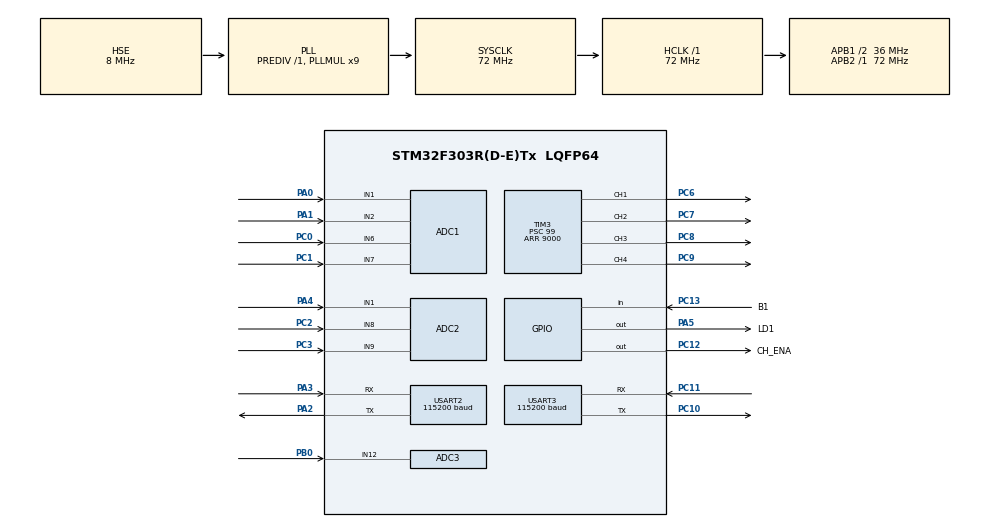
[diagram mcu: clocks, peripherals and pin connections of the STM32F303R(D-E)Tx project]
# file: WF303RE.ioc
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ADC1.Channel-0\#ChannelRegularConversion=ADC_CHANNEL_1
ADC1.Channel-1\#ChannelRegularConversion=ADC_CHANNEL_2
ADC1.Channel-2\#ChannelRegularConversion=ADC_CHANNEL_6
ADC1.Channel-3\#ChannelRegularConversion=ADC_CHANNEL_7
ADC1.ContinuousConvMode=DISABLE
ADC1.DMAContinuousRequests=ENABLE
ADC1.EOCSelection=ADC_EOC_SEQ_CONV
ADC1.ExternalTrigConv=ADC_SOFTWARE_START
ADC1.Mode=ADC_DUALMODE_REGSIMULT
ADC1.NbrOfConversion=4
ADC1.NbrOfConversionFlag=1
ADC1.Offset-0\#ChannelRegularConversion=0
ADC1.Offset-1\#ChannelRegularConversion=0
ADC1.Offset-2\#ChannelRegularConversion=0
ADC1.Offset-3\#ChannelRegularConversion=0
ADC1.OffsetNumber-0\#ChannelRegularConversion=ADC_OFFSET_NONE
ADC1.OffsetNumber-1\#ChannelRegularConversion=ADC_OFFSET_NONE
ADC1.OffsetNumber-2\#ChannelRegularConversion=ADC_OFFSET_NONE
ADC1.OffsetNumber-3\#ChannelRegularConversion=ADC_OFFSET_NONE
ADC1.Rank-0\#ChannelRegularConversion=1
ADC1.Rank-1\#ChannelRegularConversion=2
ADC1.Rank-2\#ChannelRegularConversion=3
ADC1.Rank-3\#ChannelRegularConversion=4
ADC1.SamplingTime-0\#ChannelRegularConversion=ADC_SAMPLETIME_1CYCLE_5
ADC1.SamplingTime-1\#ChannelRegularConversion=ADC_SAMPLETIME_1CYCLE_5
ADC1.SamplingTime-2\#ChannelRegularConversion=ADC_SAMPLETIME_1CYCLE_5
ADC1.SamplingTime-3\#ChannelRegularConversion=ADC_SAMPLETIME_1CYCLE_5
ADC1.SamplingTimeOPAMP-2\#ChannelRegularConversion=ADC_SAMPLETIME_7CYCLES_5
ADC1.SamplingTimeOPAMP-3\#ChannelRegularConversion=ADC_SAMPLETIME_7CYCLES_5
ADC1.master=1
ADC2.Channel-0\#ChannelRegularConversion=ADC_CHANNEL_1
ADC2.Channel-1\#ChannelRegularConversion=ADC_CHANNEL_8
ADC2.Channel-2\#ChannelRegularConversion=ADC_CHANNEL_9
ADC2.Channel-3\#ChannelRegularConversion=ADC_CHANNEL_VREFINT
ADC2.DMAContinuousRequests=DISABLE
ADC2.EOCSelection=ADC_EOC_SEQ_CONV
ADC2.Mode=ADC_DUALMODE_REGSIMULT
ADC2.NbrOfConversion=4
ADC2.NbrOfConversionFlag=1
ADC2.Offset-0\#ChannelRegularConversion=0
ADC2.Offset-1\#ChannelRegularConversion=0
ADC2.Offset-2\#ChannelRegularConversion=0
ADC2.Offset-3\#ChannelRegularConversion=0
ADC2.OffsetNumber-0\#ChannelRegularConversion=ADC_OFFSET_NONE
ADC2.OffsetNumber-1\#ChannelRegularConversion=ADC_OFFSET_NONE
ADC2.OffsetNumber-2\#ChannelRegularConversion=ADC_OFFSET_NONE
ADC2.OffsetNumber-3\#ChannelRegularConversion=ADC_OFFSET_NONE
ADC2.Rank-0\#ChannelRegularConversion=1
ADC2.Rank-1\#ChannelRegularConversion=2
ADC2.Rank-2\#ChannelRegularConversion=3
ADC2.Rank-3\#ChannelRegularConversion=4
ADC2.SamplingTime-0\#ChannelRegularConversion=ADC_SAMPLETIME_1CYCLE_5
ADC2.SamplingTime-1\#ChannelRegularConversion=ADC_SAMPLETIME_1CYCLE_5
ADC2.SamplingTime-2\#ChannelRegularConversion=ADC_SAMPLETIME_1CYCLE_5
ADC2.SamplingTime-3\#ChannelRegularConversion=ADC_SAMPLETIME_1CYCLE_5
ADC3.Channel-0\#ChannelRegularConversion=ADC_CHANNEL_12
ADC3.ExternalTrigConv=ADC_SOFTWARE_START
ADC3.NbrOfConversionFlag=1
ADC3.Offset-0\#ChannelRegularConversion=0
ADC3.OffsetNumber-0\#ChannelRegularConversion=ADC_OFFSET_NONE
ADC3.Rank-0\#ChannelRegularConversion=1
ADC3.SamplingTime-0\#ChannelRegularConversion=ADC_SAMPLETIME_1CYCLE_5
ADC3.SamplingTimeOPAMP-0\#ChannelRegularConversion=ADC_SAMPLETIME_7CYCLES_5
ADC3.master=1
Dma.ADC1.0.Direction=DMA_PERIPH_TO_MEMORY
Dma.ADC1.0.Instance=DMA1_Channel1
Dma.ADC1.0.MemDataAlignment=DMA_MDATAALIGN_WORD
Dma.ADC1.0.MemInc=DMA_MINC_ENABLE
Dma.ADC1.0.Mode=DMA_NORMAL
Dma.ADC1.0.PeriphDataAlignment=DMA_PDATAALIGN_WORD
Dma.ADC1.0.PeriphInc=DMA_PINC_DISABLE
Dma.ADC1.0.Priority=DMA_PRIORITY_LOW
Dma.Request0=ADC1
Mcu.Family=STM32F3
Mcu.Name=STM32F303R(D-E)Tx
Mcu.Package=LQFP64
NVIC.ADC3_IRQn=true\:0\:0\:false\:false\:true\:true\:true\:true
NVIC.DMA1_Channel1_IRQn=true\:0\:0\:false\:false\:true\:false\:true\:true
NVIC.PriorityGroup=NVIC_PRIORITYGROUP_4
NVIC.TIM1_UP_TIM16_IRQn=true\:0\:0\:false\:false\:true\:true\:true\:true
NVIC.USART2_IRQn=true\:0\:0\:false\:false\:true\:true\:true\:true
NVIC.USART3_IRQn=true\:0\:0\:false\:false\:true\:true\:true\:true
PA0.Mode=IN1-Single-Ended
PA0.Signal=ADC1_IN1
PA1.Mode=IN2-Single-Ended
PA1.Signal=ADC1_IN2
PA13.Mode=Serial_Wire
PA13.Signal=SYS_JTMS-SWDIO
PA14.Mode=Serial_Wire
PA14.Signal=SYS_JTCK-SWCLK
PA2.Mode=Asynchronous
PA2.Signal=USART2_TX
PA3.Mode=Asynchronous
PA3.Signal=USART2_RX
PA4.Mode=IN1-Single-Ended
PA4.Signal=ADC2_IN1
PA5.GPIO_Label=LD1
PA5.Signal=GPIO_Output
PB0.Mode=IN12-Single-Ended
PB0.Signal=ADC3_IN12
PB3.Signal=SYS_JTDO-TRACESWO
PB8.Signal=I2C1_SCL
PB9.Signal=I2C1_SDA
PC0.Signal=ADCx_IN6
PC1.Signal=ADCx_IN7
PC10.Mode=Asynchronous
PC10.Signal=USART3_TX
PC11.Mode=Asynchronous
PC11.Signal=USART3_RX
PC12.GPIO_Label=CH_ENA
PC12.Signal=GPIO_Output
PC13.GPIO_Label=B1
PC13.Signal=GPIO_Input
PC14-OSC32_IN.Mode=LSE-External-Oscillator
PC14-OSC32_IN.Signal=RCC_OSC32_IN
PC15-OSC32_OUT.Mode=LSE-External-Oscillator
PC15-OSC32_OUT.Signal=RCC_OSC32_OUT
PC2.Signal=ADCx_IN8
PC3.Signal=ADCx_IN9
PC6.Signal=S_TIM3_CH1
PC7.Signal=S_TIM3_CH2
PC8.Signal=S_TIM3_CH3
PC9.Signal=S_TIM3_CH4
PF0-OSC_IN.Mode=HSE-External-Clock-Source
PF0-OSC_IN.Signal=RCC_OSC_IN
ProjectManager.HeapSize=0x200
ProjectManager.StackSize=0x400
ProjectManager.TargetToolchain=STM32CubeIDE
RCC.ADC12PRES=RCC_ADC12PLLCLK_DIV6
RCC.ADC34PRES=RCC_ADC34PLLCLK_DIV6
RCC.AHBFreq_Value=72000000
RCC.APB1CLKDivider=RCC_HCLK_DIV2
RCC.APB1Freq_Value=36000000
RCC.APB1TimCLKDivider=1
RCC.APB1TimFreq_Value=36000000
RCC.APB2Freq_Value=72000000
RCC.APB2TimFreq_Value=72000000
RCC.CortexFreq_Value=72000000
RCC.HCLKFreq_Value=72000000
RCC.HSE_VALUE=8000000
RCC.HSI_VALUE=8000000
RCC.PLLMUL=RCC_PLL_MUL9
RCC.PLLSourceVirtual=RCC_PLLSOURCE_HSE
RCC.SYSCLKFreq_VALUE=72000000
RCC.SYSCLKSourceVirtual=RCC_SYSCLKSOURCE_PLLCLK
RCC.USBFreq_Value=72000000
SH.ADCx_IN6.0=ADC1_IN6,IN6-Single-Ended
SH.ADCx_IN7.0=ADC2_IN7
SH.ADCx_IN7.1=ADC1_IN7,IN7-Single-Ended
SH.ADCx_IN8.0=ADC2_IN8,IN8-Single-Ended
SH.ADCx_IN9.0=ADC1_IN9
SH.ADCx_IN9.1=ADC2_IN9,IN9-Single-Ended
SH.S_TIM3_CH1.0=TIM3_CH1,PWM Generation1 CH1
SH.S_TIM3_CH2.0=TIM3_CH2,PWM Generation2 CH2
SH.S_TIM3_CH3.0=TIM3_CH3,PWM Generation3 CH3
SH.S_TIM3_CH4.0=TIM3_CH4,PWM Generation4 CH4
TIM1.Period=18000
TIM1.TIM_MasterOutputTrigger=TIM_TRGO_RESET
TIM1.TIM_MasterOutputTrigger2=TIM_TRGO2_RESET
TIM3.Channel-PWM\ Generation1\ CH1=TIM_CHANNEL_1
TIM3.Channel-PWM\ Generation2\ CH2=TIM_CHANNEL_2
TIM3.Channel-PWM\ Generation3\ CH3=TIM_CHANNEL_3
TIM3.Channel-PWM\ Generation4\ CH4=TIM_CHANNEL_4
TIM3.Period=9000
TIM3.Prescaler=99
USART2.BaudRate=115200
USART2.VirtualMode-Asynchronous=VM_ASYNC
USART3.BaudRate=115200
USART3.VirtualMode-Asynchronous=VM_ASYNC
VP_ADC2_Vref_Input.Mode=IN-Vrefint
VP_TIM1_VS_ClockSourceINT.Mode=Internal
board=custom

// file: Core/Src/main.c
/* USER CODE BEGIN Header */
/**
  ******************************************************************************
  * @file           : main.c
  * @brief          : Main program body
  ******************************************************************************
  * @attention
  *
  * Copyright (c) 2022 STMicroelectronics.
  * All rights reserved.
  *
  * This software is licensed under terms that can be found in the LICENSE file
  * in the root directory of this software component.
  * If no LICENSE file comes with this software, it is provided AS-IS.
  *
  ******************************************************************************
  */
/* USER CODE END Header */
#include "main.h"

/* USER CODE BEGIN Includes */
#include "utils.h"
#include <string.h>
#include "ESP01.h"
/* USER CODE END Includes */

/* USER CODE BEGIN PD */
#define IS100MS			flag1.bit.b0
#define ANALOGREADY		flag1.bit.b1
#define ESP01DEBUG		flag1.bit.b2
#define CONTAVERAGE		flag1.bit.b3

#define LEDIDLE				0xE8000000
#define LEDTXANALOG			0xE8A00000
#define LEDESP01DBG			0xEAEAEAEA
#define LEDWIFIDISCONNECTED	0x0000EE00
#define LEDWIFICONNECTED	0x0000EEA0
#define LEDUDPREADY			0x0000EEA8

#define ADCDATASIZE		256

#define RXBUFSIZE		256
#define TXBUFSIZE		256
#define RXESP01BUFSIZE	128
#define TXESP01BUFSIZE	128

/* USER CODE END PD */

ADC_HandleTypeDef hadc1;
ADC_HandleTypeDef hadc2;
ADC_HandleTypeDef hadc3;
DMA_HandleTypeDef hdma_adc1;

TIM_HandleTypeDef htim1;
TIM_HandleTypeDef htim3;

UART_HandleTypeDef huart2;
UART_HandleTypeDef huart3;

/* USER CODE BEGIN PV */
_uFlag flag1;
_uWork w, w1;
_sRx RX, RXESP01;
_sTx TX, TXESP01;

char strAux[32], ssid[48], password[32], remoteIP[16];
uint16_t remotePort, localPort;

uint8_t bufRX[RXBUFSIZE], bufRXESP01[RXESP01BUFSIZE], auxDataRXESP01;
uint8_t bufTX[TXBUFSIZE], bufTXESP01[TXESP01BUFSIZE];
uint16_t timeOutSendAlive;

uint16_t ADCData[ADCDATASIZE][8];
uint8_t indexADCData, indexADCData10ms, iADCDataReady;
uint16_t ADC3DataAux;
uint32_t sumADCData10ms[8], sumADCDataLock[8];
uint16_t timeOutAnalog, timeOutAnalogAux;
uint8_t n10msData, stateSendSamples, numSendSamples, cksSendSamples;

uint32_t maskLedStatus, ledStatus;
uint32_t lastTickValue;
uint8_t timeOut100ms;

uint16_t timeOutTestMotors;

uint8_t countPlus, timeOutPlus;

const char FIRMWARE[] = "20221017_v01b01";
/* USER CODE END PV */

void SystemClock_Config(void);
static void MX_GPIO_Init(void);
static void MX_DMA_Init(void);
static void MX_ADC1_Init(void);
static void MX_ADC2_Init(void);
static void MX_ADC3_Init(void);
static void MX_TIM3_Init(void);
static void MX_USART2_UART_Init(void);
static void MX_USART3_UART_Init(void);
static void MX_TIM1_Init(void);
/* USER CODE BEGIN PFP */
void DecodeHeader(_sRx *RX);
uint8_t PutBufOnTx(_sTx *TX, uint8_t *buf, uint8_t length);
uint8_t PutByteOnTx(_sTx *TX, uint8_t value);
uint8_t PutHeaderOnTx(_sTx *TX, uint8_t id, uint8_t lCmd);
//void CalcAndPutCksOnTx(_sTx *TX);
uint8_t PutStrOntx(_sTx *TX, const char *str);
uint8_t GetByteFromRx(_sRx *RX, int8_t pre, int8_t pos);
void GetBufFromRx(_sRx *RX, uint8_t *buf, int length);
void DecodeCmd(_sRx *RX, _sTx *TX);
void Do100ms();
void ChangeLedStatus(uint32_t aMask, uint32_t aLedStatus);

void ESP01ChEN(uint32_t value);
void ESP01DatagramReady(uint8_t *buf, uint16_t length);
void ESP01WIFIConnected();
void ESP01WIFIDisconnected();
void ESP01UDPReady();
/* USER CODE END PFP */

/* USER CODE BEGIN 0 */
void HAL_ADC_ConvCpltCallback(ADC_HandleTypeDef* hadc){
	if(hadc->Instance == ADC1){
		ADCData[indexADCData][7] = ADC3DataAux;
		sumADCData10ms[0] += ADCData[indexADCData][0];
		sumADCData10ms[1] += ADCData[indexADCData][1];
		sumADCData10ms[2] += ADCData[indexADCData][2];
		sumADCData10ms[3] += ADCData[indexADCData][3];
		sumADCData10ms[4] += ADCData[indexADCData][4];
		sumADCData10ms[5] += ADCData[indexADCData][5];
		sumADCData10ms[6] += ADCData[indexADCData][6];
		sumADCData10ms[7] += ADCData[indexADCData][7];
		indexADCData++;
		indexADCData &= (ADCDATASIZE-1);
		if(timeOutAnalogAux){
			timeOutAnalogAux--;
			if(!timeOutAnalogAux){
				timeOutAnalogAux = timeOutAnalog;
				iADCDataReady = indexADCData;
				memcpy(sumADCDataLock, sumADCData10ms, sizeof(sumADCDataLock));
				ANALOGREADY = 1;
			}
		}
	}
	if(hadc->Instance == ADC3){
		ADC3DataAux = HAL_ADC_GetValue(&hadc3);
	}
}

void HAL_TIM_PeriodElapsedCallback(TIM_HandleTypeDef *htim){
//	if(timeOutAnalogAux){
//		timeOutAnalogAux--;
//		if(!timeOutAnalogAux){
//			timeOutAnalogAux = timeOutAnalog;
//			iADCDataReady = indexADCData;
//			memcpy(sumADCDataLock, sumADCData10ms, sizeof(sumADCDataLock));
//			ANALOGREADY = 1;
//		}
//	}

	sumADCData10ms[0] -= ADCData[indexADCData10ms][0];
	sumADCData10ms[1] -= ADCData[indexADCData10ms][1];
	sumADCData10ms[2] -= ADCData[indexADCData10ms][2];
	sumADCData10ms[3] -= ADCData[indexADCData10ms][3];
	sumADCData10ms[4] -= ADCData[indexADCData10ms][4];
	sumADCData10ms[5] -= ADCData[indexADCData10ms][5];
	sumADCData10ms[6] -= ADCData[indexADCData10ms][6];
	sumADCData10ms[7] -= ADCData[indexADCData10ms][7];
	indexADCData10ms++;
	indexADCData10ms &= (ADCDATASIZE - 1);
	HAL_ADC_Start_IT(&hadc3);
	HAL_ADC_Start(&hadc2);
	HAL_ADCEx_MultiModeStart_DMA(&hadc1, (uint32_t *)&ADCData[indexADCData], 4);
}

void HAL_UART_RxCpltCallback(UART_HandleTypeDef *huart){
	if(huart->Instance == USART2){
		if(ESP01DEBUG){
			if(RX.buf[RX.iw] == '+'){
				if(countPlus == 0)
					timeOutPlus = 3;
				countPlus++;
				if(countPlus==3 && timeOutPlus!=0){
					ESP01DEBUG = 0;
					ledStatus = LEDIDLE;
				}
			}
			else
				countPlus = 0;

			PutByteOnTx(&TXESP01, RX.buf[RX.iw]);
		}

		RX.iw++;
		RX.iw &= RX.maskSize;
		HAL_UART_Receive_IT(&huart2, &RX.buf[RX.iw], 1);
	}
	if(huart->Instance == USART3){
		if(ESP01DEBUG){
			PutByteOnTx(&TX, auxDataRXESP01);
		}
		ESP01SetRxByte(auxDataRXESP01);
		HAL_UART_Receive_IT(&huart3, &auxDataRXESP01, 1);
//		RXESP01.iw++;
//		RXESP01.iw &= RXESP01.maskSize;
//		HAL_UART_Receive_IT(&huart3, &RXESP01.buf[RXESP01.iw], 1);
	}
}

void DecodeHeader(_sRx *RX){
    uint8_t i;

    i = RX->iw;

    while(RX->ir != i){
       switch(RX->header){
        case 0:
            if(RX->buf[RX->ir] == 'U'){
                RX->header = 1;
                RX->timeout = 5;
            }
            break;
        case 1:
            if(RX->buf[RX->ir] == 'N')
                RX->header = 2;
            else{
                RX->header = 0;
                RX->ir--;
            }
            break;
        case 2:
            if(RX->buf[RX->ir] == 'E')
                RX->header = 3;
            else{
                RX->header = 0;
                RX->ir--;
            }
            break;
        case 3:
            if(RX->buf[RX->ir] == 'R')
                RX->header = 4;
            else{
                RX->header = 0;
                RX->ir--;
            }
            break;
        case 4:
            RX->nbytes = RX->buf[RX->ir];
            RX->header = 5;
            break;
        case 5:
            if(RX->buf[RX->ir] == ':'){
                RX->header = 6;
                RX->iData = RX->ir + 1;
                RX->iData &= RX->maskSize;
                RX->cks = 'U' ^ 'N' ^ 'E' ^ 'R' ^ ':' ^ RX->nbytes;
            }
            else{
                RX->header = 0;
                RX->ir--;
            }
            break;
        case 6:
            RX->nbytes--;
            if(RX->nbytes > 0){
                RX->cks ^= RX->buf[RX->ir];
            }
            else{
                RX->header = 0;
                if(RX->cks == RX->buf[RX->ir])
                    RX->ISCMD = 1;
            }
            break;
        default:
            RX->header = 0;
        }

        RX->ir &= RX->maskSize;
        RX->ir++;
        RX->ir &= RX->maskSize;
    }

}

uint8_t PutBufOnTx(_sTx *TX, uint8_t *buf, uint8_t length){
	uint8_t i;

    for(i=0; i<length; i++){
        TX->cks ^= buf[i];
        TX->buf[TX->iw++] = buf[i];
        TX->iw &= TX->maskSize;
    }

    return TX->cks;
}

uint8_t PutByteOnTx(_sTx *TX, uint8_t value){
	TX->cks ^= value;
	TX->buf[TX->iw++] = value;
    TX->iw &= TX->maskSize;

    return TX->cks;
}

uint8_t PutHeaderOnTx(_sTx *TX, uint8_t id, uint8_t lCmd){
    TX->buf[TX->iw++] = 'U';
    TX->iw &= TX->maskSize;
    TX->buf[TX->iw++] = 'N';
    TX->iw &= TX->maskSize;
    TX->buf[TX->iw++] = 'E';
    TX->iw &= TX->maskSize;
    TX->buf[TX->iw++] = 'R';
    TX->iw &= TX->maskSize;
    TX->buf[TX->iw++] = lCmd + 1;//id + payload + cks
    TX->iw &= TX->maskSize;
    TX->buf[TX->iw++] = ':';
    TX->iw &= TX->maskSize;
    TX->buf[TX->iw++] = id;
    TX->iw &= TX->maskSize;

    TX->cks ^= (lCmd + 1);
    TX->cks ^= ('U' ^ 'N' ^ 'E' ^ 'R' ^ ':' ^ id);

    return TX->cks;
}

//void CalcAndPutCksOnTx(_sTx *TX){
//    uint8_t cks, i;
//
//    cks = 0;
//    i = TX->length + 6;
//    i = TX->iw-i;
//    i &= TX->maskSize;
//    while(i != TX->iw){
//        cks ^= TX->buf[i++];
//        i &= TX->maskSize;
//    }
//
//    TX->buf[TX->iw++] = cks;
//    TX->iw &= TX->maskSize;
//}

uint8_t PutStrOntx(_sTx *TX, const char *str){
    uint8_t i = 0;

    while(str[i]){
        TX->cks |= str[i];
    	TX->buf[TX->iw++] = str[i++];
        TX->iw &= TX->maskSize;

    }

    return TX->cks;
}

uint8_t GetByteFromRx(_sRx *RX, int8_t pre, int8_t pos){
    uint8_t aux;

    RX->iData += pre;
    RX->iData &= RX->maskSize;
    aux = RX->buf[RX->iData];
    RX->iData += pos;
    RX->iData &= RX->maskSize;

    return aux;
}

void GetBufFromRx(_sRx *RX, uint8_t *buf, int length){
    for(int i=0; i<length; i++){
        buf[i] = RX->buf[RX->iData];
        RX->iData++;
        RX->iData &= RX->maskSize;
    }
}

void DecodeCmd(_sRx *RX, _sTx *TX){
	RX->ISCMD = 0;

    TX->cks = 0;
    switch (RX->buf[RX->iData])
    {
    case 0xA0://READ LAST ANALOG INPUTS
    	ChangeLedStatus(0x0000FFFF, LEDIDLE);
		w.u8[0] = indexADCData;
		w.u8[0]--;
		w.u8[0] &= (ADCDATASIZE - 1);
		PutHeaderOnTx(TX, 0xA0, 2*16+1);
		PutBufOnTx(TX, (uint8_t *)&ADCData[w.u8[0]], 16);
		for(w.u8[2] = 0; w.u8[2]<8; w.u8[2]++){
			w.u16[0] = sumADCData10ms[w.u8[2]]/40;
			PutByteOnTx(TX, w.u8[0]);
			PutByteOnTx(TX, w.u8[1]);
		}
		PutByteOnTx(TX, TX->cks);
        break;
    case 0xA1://READ Continuous every Nx10ms Nx5 Samples and Average
    	w.u8[0] =  GetByteFromRx(RX, 1, 0);
    	if(w.u8[0] != 0){
    		w.u8[0] /= 10;
    		if(w.u8[0] == 0)
    			w.u8[0] = 1;
    		if(w.u8[0] > 6)
    			w.u8[0] = 6;
    		n10msData = w.u8[0];
    		timeOutAnalog = n10msData*40;
    		timeOutAnalogAux = timeOutAnalog;
    		stateSendSamples = 0;
    		CONTAVERAGE = 0;
        	ChangeLedStatus(0x0000FFFF, LEDTXANALOG);
    	}
    	else{
    		timeOutAnalog = 0;
    		timeOutAnalogAux = 0;
        	ChangeLedStatus(0x0000FFFF, LEDIDLE);
    	}
    	PutHeaderOnTx(TX, 0xA1, 2);
    	PutByteOnTx(TX, 0x0D);
    	PutByteOnTx(TX, TX->cks);
    	break;
    case 0xA2://Read Continuous Average every N ms
    	w.u8[0] =  GetByteFromRx(RX, 1, 0);
    	if(w.u8[0] != 0){
    		if(w.u8[0] < 10)
    			w.u8[0] = 10;
    		timeOutAnalog = w.u8[0]*4;
    		timeOutAnalogAux = timeOutAnalog;
        	ChangeLedStatus(0x0000FFFF, LEDTXANALOG);
    		CONTAVERAGE = 1;
    	}
    	else{
    		timeOutAnalog = 0;
    		timeOutAnalogAux = 0;
        	ChangeLedStatus(0x0000FFFF, LEDIDLE);
    	}
    	PutHeaderOnTx(TX, 0xA2, 2);
    	PutByteOnTx(TX, 0x0D);
    	PutByteOnTx(TX, TX->cks);
    	break;
    case 0xA3://SET Motor Period
    	w.u8[0] = GetByteFromRx(RX, 1, 0);
    	w.u8[1] = GetByteFromRx(RX, 1, 0);
    	if(w.u16[0] < 100){
    		w.u16[0] = 100;
    	}
    	if(w.u16[0] > 9000){
    		w.u16[0] = 9000;
    	}

		HAL_TIM_PWM_Stop(&htim3, TIM_CHANNEL_1);
		HAL_TIM_PWM_Stop(&htim3, TIM_CHANNEL_2);
		HAL_TIM_PWM_Stop(&htim3, TIM_CHANNEL_3);
		HAL_TIM_PWM_Stop(&htim3, TIM_CHANNEL_4);
		__HAL_TIM_SET_COMPARE(&htim3, TIM_CHANNEL_1, 0);
		__HAL_TIM_SET_COMPARE(&htim3, TIM_CHANNEL_2, 0);
		__HAL_TIM_SET_COMPARE(&htim3, TIM_CHANNEL_3, 0);
		__HAL_TIM_SET_COMPARE(&htim3, TIM_CHANNEL_4, 0);

		__HAL_TIM_SET_AUTORELOAD(&htim3, w.u16[0]);

		HAL_TIM_PWM_Start(&htim3, TIM_CHANNEL_1);
		HAL_TIM_PWM_Start(&htim3, TIM_CHANNEL_2);
		HAL_TIM_PWM_Start(&htim3, TIM_CHANNEL_3);
		HAL_TIM_PWM_Start(&htim3, TIM_CHANNEL_4);

		PutHeaderOnTx(TX, 0xA3, 3);
    	PutByteOnTx(TX, w.u8[0]);
    	PutByteOnTx(TX, w.u8[1]);
    	PutByteOnTx(TX, TX->cks);
    	break;
    case 0xA4://Test Motors
    	w.i8[0] = GetByteFromRx(RX, 1, 0);
    	w.i8[1] = GetByteFromRx(RX, 1, 0);
    	w.i8[2] = GetByteFromRx(RX, 1, 0);
    	w.i8[3] = GetByteFromRx(RX, 1, 0);
    	if(w.i8[0] > 100)
    		w.i8[0] = 90;
    	if(w.i8[0] < -100)
    		w.i8[0] = -90;
    	if(w.i8[1] > 100)
    		w.i8[1] = 90;
    	if(w.i8[1] < -100)
    		w.i8[1] = -90;
    	w1.i16[0] = (w.i8[0]*100)/__HAL_TIM_GET_AUTORELOAD(&htim3);
    	w1.i16[1] = (w.i8[1]*100)/__HAL_TIM_GET_AUTORELOAD(&htim3);
    	if(w.u16[1] > 100)
    		w.u16[1] = 100;
    	timeOutTestMotors = w.u16[1];
    	if(w1.i16[0] < 0){
    		w1.i16[0] *= -1;
    		__HAL_TIM_SET_COMPARE(&htim3, TIM_CHANNEL_1, w1.i16[0]);
    		__HAL_TIM_SET_COMPARE(&htim3, TIM_CHANNEL_2, 0);
    	}
    	else{
    		__HAL_TIM_SET_COMPARE(&htim3, TIM_CHANNEL_1, 0);
    		__HAL_TIM_SET_COMPARE(&htim3, TIM_CHANNEL_2, w1.i16[0]);
    	}
    	if(w1.i16[1] < 0){
    		w1.i16[1] *= -1;
    		__HAL_TIM_SET_COMPARE(&htim3, TIM_CHANNEL_3, w1.i16[1]);
    		__HAL_TIM_SET_COMPARE(&htim3, TIM_CHANNEL_4, 0);
    	}
    	else{
    		__HAL_TIM_SET_COMPARE(&htim3, TIM_CHANNEL_3, 0);
    		__HAL_TIM_SET_COMPARE(&htim3, TIM_CHANNEL_4, w1.i16[1]);
    	}
    	PutHeaderOnTx(TX, 0xA4, 5);
    	PutByteOnTx(TX, w.u8[0]);
    	PutByteOnTx(TX, w.u8[1]);
    	PutByteOnTx(TX, w.u8[2]);
    	PutByteOnTx(TX, w.u8[3]);
    	PutByteOnTx(TX, TX->cks);
    	break;
    case 0xB0://SET transparent ESP01
   		ESP01DEBUG  = 1;
    	ChangeLedStatus(0x0000FFFF, LEDESP01DBG);
   		countPlus = 0;
    	break;
    case 0xB1://SET WIFI SSID and PASSWORD
    	for(w.u8[0] = 0; w.u8[0] < 48; w.u8[0]++){
    		w.u8[1] = GetByteFromRx(RX, 1, 0);
    		ssid[w.u8[0]] = w.u8[1];
    		if(w.u8[1] == '\0')
    			break;
    	}
		ssid[47] = '\0';
    	for(w.u8[0] = 0; w.u8[0] < 32; w.u8[0]++){
    		w.u8[1] = GetByteFromRx(RX, 1, 0);
    		password[w.u8[0]] = w.u8[1];
    		if(w.u8[1] == '\0')
    			break;
    	}
		password[31] = '\0';
    	ESP01SetWIFI(ssid, password);
    	PutHeaderOnTx(TX, 0xB1, 48+32+1);
    	PutBufOnTx(TX, (uint8_t *)ssid, 48);
    	PutBufOnTx(TX, (uint8_t *)password, 32);
    	PutByteOnTx(TX, TX->cks);
    	break;
    case 0xB2://SET RemoteIP, RemotePort and LocalPort
    	if(ESP01GetLastSTATE() == ESP01WIFIDISCONNECTED){
    		PutHeaderOnTx(TX, 0xB2, 2);
    		PutByteOnTx(TX, 0xFF);
    		PutByteOnTx(TX, TX->cks);
    		break;
    	}
    	for(w.u8[0] = 0; w.u8[0] < 16; w.u8[0]++){
    		w.u8[1] = GetByteFromRx(RX, 1, 0);
    		remoteIP[w.u8[0]] = w.u8[1];
    		if(w.u8[1] == '\0')
    			break;
    	}
		remoteIP[15] = '\0';
		w.u8[0] = GetByteFromRx(RX, 1, 0);
		w.u8[1] = GetByteFromRx(RX, 1, 0);
		w.u8[2] = GetByteFromRx(RX, 1, 0);
		w.u8[3] = GetByteFromRx(RX, 1, 0);
		remotePort = w.u16[0];
		localPort = w.u16[1];
		ESP01ConnectUDP(remoteIP, remotePort, localPort);
		PutHeaderOnTx(TX, 0xB2, 22);
		PutByteOnTx(TX, 0x0D);
		PutBufOnTx(TX, (uint8_t *)remoteIP, 16);
		PutBufOnTx(TX, (uint8_t *)&remotePort, 2);
		PutBufOnTx(TX, (uint8_t *)&localPort, 2);
		PutByteOnTx(TX, TX->cks);
    	break;
    case 0xF0://ALIVE
    	PutHeaderOnTx(TX, 0xF0, 2);
        PutByteOnTx(TX, 0x0D);
        PutByteOnTx(TX, TX->cks);
        break;
    case 0xF1://FIRMWARE
        PutStrOntx(TX, "+&DBG");
        PutStrOntx(TX, FIRMWARE);
        PutByteOnTx(TX, '\n');
        break;
    default:
        PutHeaderOnTx(TX, RX->buf[RX->iData], 2);
        PutByteOnTx(TX, 0xFF);
        PutByteOnTx(TX, TX->cks);
        break;
    }

}

void Do100ms(){
	timeOut100ms = 10;

	if(maskLedStatus & ledStatus)
		HAL_GPIO_WritePin(LD1_GPIO_Port, LD1_Pin, GPIO_PIN_SET);
	else
		HAL_GPIO_WritePin(LD1_GPIO_Port, LD1_Pin, GPIO_PIN_RESET);
	maskLedStatus >>= 1;
	if(!maskLedStatus)
		maskLedStatus = 0x80000000;

	if(timeOutTestMotors){
		timeOutTestMotors--;
		if(!timeOutTestMotors){
			__HAL_TIM_SET_COMPARE(&htim3, TIM_CHANNEL_1, 0);
			__HAL_TIM_SET_COMPARE(&htim3, TIM_CHANNEL_2, 0);
			__HAL_TIM_SET_COMPARE(&htim3, TIM_CHANNEL_3, 0);
			__HAL_TIM_SET_COMPARE(&htim3, TIM_CHANNEL_4, 0);
		}
	}

	if(timeOutSendAlive){
		timeOutSendAlive--;
		if(!timeOutSendAlive){
			timeOutSendAlive = 200;
			TX.cks = 0;
			PutHeaderOnTx(&TX, 0xF0, 2);
			PutByteOnTx(&TX, 0x0E);
			PutByteOnTx(&TX, TX.cks);
			TXESP01.cks = 0;
			PutHeaderOnTx(&TXESP01, 0xF0, 2);
			PutByteOnTx(&TXESP01, 0x0F);
			PutByteOnTx(&TXESP01, TXESP01.cks);
		}
	}
}

void ChangeLedStatus(uint32_t aMask, uint32_t aLedStatus){
	ledStatus &= aMask;
	ledStatus |= aLedStatus;
}

void ESP01ChEN(uint32_t value){
	HAL_GPIO_WritePin(CH_ENA_GPIO_Port, CH_ENA_Pin, value);
}

void ESP01DatagramReady(uint8_t *buf, uint16_t length){
	for(uint16_t i=0; i<length; i++)
		RXESP01.buf[RXESP01.iw++] = buf[i];
}

void ESP01WIFIConnected(){
	PutStrOntx(&TX, "+&DBGWIFI Connected\n");
	ChangeLedStatus(0xFFFF0000, LEDWIFICONNECTED);
}

void ESP01WIFIDisconnected(){
	PutStrOntx(&TX, "+&DBGWIFI Disconnected\n");
	ChangeLedStatus(0xFFFF0000, LEDWIFIDISCONNECTED);
}

void ESP01UDPReady(){
	PutStrOntx(&TX, "+&DBGUDP Connected\n");
	ChangeLedStatus(0xFFFF0000, LEDUDPREADY);
}

/* USER CODE END 0 */

int main(void)
{
  /* USER CODE BEGIN 1 */
	flag1.byte = 0;
	RX.buf = bufRX;
	RX.header = 0;
	RX.ir = 0;
	RX.iw = 0;
	RX.maskSize = RXBUFSIZE - 1;

	TX.buf = bufTX;
	TX.ir = 0;
	TX.iw = 0;
	TX.maskSize = TXBUFSIZE - 1;

	RXESP01.buf = bufRXESP01;
	RXESP01.header = 0;
	RXESP01.ir = 0;
	RXESP01.iw = 0;
	RXESP01.maskSize = RXESP01BUFSIZE - 1;

	TXESP01.buf = bufTXESP01;
	TXESP01.ir = 0;
	TXESP01.iw = 0;
	TXESP01.maskSize = TXESP01BUFSIZE - 1;

	timeOut100ms = 10;
	ledStatus = LEDIDLE;
	timeOutSendAlive = 200;

	indexADCData = 0;
	indexADCData10ms -= 40;
	indexADCData10ms &= (ADCDATASIZE - 1);

	timeOutTestMotors = 0;
  /* USER CODE END 1 */

  /* MCU Configuration--------------------------------------------------------*/

  /* Reset of all peripherals, Initializes the Flash interface and the Systick. */
  HAL_Init();

  /* Configure the system clock */
  SystemClock_Config();

  /* Initialize all configured peripherals */
  MX_GPIO_Init();
  MX_DMA_Init();
  MX_ADC1_Init();
  MX_ADC2_Init();
  MX_ADC3_Init();
  MX_TIM3_Init();
  MX_USART2_UART_Init();
  MX_USART3_UART_Init();
  MX_TIM1_Init();
  /* USER CODE BEGIN 2 */

  indexADCData = 0;
  HAL_TIM_Base_Start_IT(&htim1);
  HAL_UART_Receive_IT(&huart2, &RX.buf[RX.iw], 1);
  HAL_UART_Receive_IT(&huart3, &auxDataRXESP01, 1);

  HAL_TIM_Base_Start(&htim3);
  HAL_TIM_PWM_Start(&htim3, TIM_CHANNEL_1);
  HAL_TIM_PWM_Start(&htim3, TIM_CHANNEL_2);
  HAL_TIM_PWM_Start(&htim3, TIM_CHANNEL_3);
  HAL_TIM_PWM_Start(&htim3, TIM_CHANNEL_4);
  __HAL_TIM_SET_COMPARE(&htim3, TIM_CHANNEL_1, 0);
  __HAL_TIM_SET_COMPARE(&htim3, TIM_CHANNEL_2, 0);
  __HAL_TIM_SET_COMPARE(&htim3, TIM_CHANNEL_3, 0);
  __HAL_TIM_SET_COMPARE(&htim3, TIM_CHANNEL_4, 0);
  /* USER CODE END 2 */

  /* Infinite loop */
  /* USER CODE BEGIN WHILE */

  HAL_GPIO_WritePin(CH_ENA_GPIO_Port, CH_ENA_Pin, GPIO_PIN_SET);
  ESP01Init((ESP01GpioWriteCH_EN *)&ESP01ChEN, (ESP01OnUDPData *)&ESP01DatagramReady);
  ESP01AttachOnWIFIConnected((ESP01OnWIFIConnected *)&ESP01WIFIConnected);
  ESP01AttachOnWIFIDisconnected((ESP01OnWIFIDisconnected *)&ESP01WIFIDisconnected);
  ESP01AttachOnUDPReady((ESP01OnUDPReady *)&ESP01UDPReady);

  lastTickValue = HAL_GetTick();

  while (1)
  {
    /* USER CODE END WHILE */

    /* USER CODE BEGIN 3 */
	  if(!timeOut100ms)
		  Do100ms();

	  if((HAL_GetTick()-lastTickValue) >= 10){
		  lastTickValue = HAL_GetTick();

		  if(RX.header){
			  RX.timeout--;
			  if(!RX.timeout)
				  RX.header = 0;
		  }

		  if(timeOut100ms)
			  timeOut100ms--;

		  if(timeOutPlus){
			  timeOutPlus--;
			  if(!timeOutPlus)
				  countPlus = 0;
		  }

		  ESP01TimeOut10ms();

	  }

	  if(RX.ISCMD)
		  DecodeCmd(&RX, &TX);

	  if(RX.ir != RX.iw)
		  DecodeHeader(&RX);

	  if(RXESP01.ISCMD)
		  DecodeCmd(&RXESP01, &TXESP01);

	  if(RXESP01.ir != RXESP01.iw)
		  DecodeHeader(&RXESP01);

	  if(ANALOGREADY){
		  ANALOGREADY = 0;
		  if(CONTAVERAGE){
			  TX.cks = 0;
			  PutHeaderOnTx(&TX, 0xA2, 16+2);
			  PutByteOnTx(&TX, 0x0A);
			  for(w.u8[2] = 0; w.u8[2]<8; w.u8[2]++){
				  w.u16[0] = sumADCDataLock[w.u8[2]]/40;
				  PutByteOnTx(&TX, w.u8[0]);
				  PutByteOnTx(&TX, w.u8[1]);
			  }
			  PutByteOnTx(&TX, TX.cks);
		  }
		  else{
			  TX.cks = 0;
			  w.u8[3] = iADCDataReady;
			  w.u8[3] -= (n10msData*40);
			  w.u8[3] &= (ADCDATASIZE - 1);
			  w.u8[2] = n10msData*5 + 1;
			  w.u8[2] *= 16;
			  PutHeaderOnTx(&TX, 0xA1, w.u8[2]+3);
			  PutByteOnTx(&TX, 0x0A);
			  w.u8[2] /= 16;
			  w.u8[2]--;
			  PutByteOnTx(&TX, w.u8[2]);
			  while(w.u8[2]){
				  PutBufOnTx(&TX, (uint8_t *)&ADCData[w.u8[3]], 16);
				  w.u8[3] += 8;
				  w.u8[3] &= (ADCDATASIZE-1);
				  w.u8[2]--;
			  }
			  for(w.u8[2] = 0; w.u8[2]<8; w.u8[2]++){
				  w.u16[0] = sumADCDataLock[w.u8[2]]/40;
				  PutByteOnTx(&TX, w.u8[0]);
				  PutByteOnTx(&TX, w.u8[1]);
			  }
			  PutByteOnTx(&TX, TX.cks);
		  }
	  }

	  if(TX.ir != TX.iw){
		  if(__HAL_UART_GET_FLAG(&huart2, UART_FLAG_TXE)){
			  huart2.Instance->TDR = TX.buf[TX.ir++];
			  TX.ir &= TX.maskSize;
		  }
	  }

	  if(ESP01DEBUG){
		  if(TXESP01.ir != TXESP01.iw){
			  if(__HAL_UART_GET_FLAG(&huart3, UART_FLAG_TXE)){
				  huart3.Instance->TDR = TXESP01.buf[TXESP01.ir++];
				  TXESP01.ir &= TXESP01.maskSize;
			  }
		  }
	  }
	  else{
		  if(TXESP01.iw != TXESP01.ir){
			  w.u16[0] = TXESP01.iw - TXESP01.ir;
			  w.u16[0] &= (TXESP01BUFSIZE - 1);
			  if(ESP01SendUDPData(&TXESP01.buf[TXESP01.ir], w.u16[0], TXESP01BUFSIZE))
				  TXESP01.iw = TXESP01.ir;
		  }

		  if(__HAL_UART_GET_FLAG(&huart3, UART_FLAG_TXE)){
			  if(ESP01GetTxByte(&w.u8[0]))
				  huart3.Instance->TDR = w.u8[0];
		  }
	  }

	  ESP01Task();

  }
  /* USER CODE END 3 */
}

void SystemClock_Config(void)
{
  RCC_OscInitTypeDef RCC_OscInitStruct = {0};
  RCC_ClkInitTypeDef RCC_ClkInitStruct = {0};
  RCC_PeriphCLKInitTypeDef PeriphClkInit = {0};

  /** Initializes the RCC Oscillators according to the specified parameters
  * in the RCC_OscInitTypeDef structure.
  */
  RCC_OscInitStruct.OscillatorType = RCC_OSCILLATORTYPE_HSE;
  RCC_OscInitStruct.HSEState = RCC_HSE_BYPASS;
  RCC_OscInitStruct.HSIState = RCC_HSI_ON;
  RCC_OscInitStruct.PLL.PLLState = RCC_PLL_ON;
  RCC_OscInitStruct.PLL.PLLSource = RCC_PLLSOURCE_HSE;
  RCC_OscInitStruct.PLL.PLLMUL = RCC_PLL_MUL9;
  RCC_OscInitStruct.PLL.PREDIV = RCC_PREDIV_DIV1;
  if (HAL_RCC_OscConfig(&RCC_OscInitStruct) != HAL_OK)
  {
    Error_Handler();
  }

  /** Initializes the CPU, AHB and APB buses clocks
  */
  RCC_ClkInitStruct.ClockType = RCC_CLOCKTYPE_HCLK|RCC_CLOCKTYPE_SYSCLK
                              |RCC_CLOCKTYPE_PCLK1|RCC_CLOCKTYPE_PCLK2;
  RCC_ClkInitStruct.SYSCLKSource = RCC_SYSCLKSOURCE_PLLCLK;
  RCC_ClkInitStruct.AHBCLKDivider = RCC_SYSCLK_DIV1;
  RCC_ClkInitStruct.APB1CLKDivider = RCC_HCLK_DIV2;
  RCC_ClkInitStruct.APB2CLKDivider = RCC_HCLK_DIV1;

  if (HAL_RCC_ClockConfig(&RCC_ClkInitStruct, FLASH_LATENCY_2) != HAL_OK)
  {
    Error_Handler();
  }
  PeriphClkInit.PeriphClockSelection = RCC_PERIPHCLK_USART2|RCC_PERIPHCLK_USART3
                              |RCC_PERIPHCLK_TIM1|RCC_PERIPHCLK_ADC12
                              |RCC_PERIPHCLK_ADC34|RCC_PERIPHCLK_TIM34;
  PeriphClkInit.Usart2ClockSelection = RCC_USART2CLKSOURCE_PCLK1;
  PeriphClkInit.Usart3ClockSelection = RCC_USART3CLKSOURCE_PCLK1;
  PeriphClkInit.Adc12ClockSelection = RCC_ADC12PLLCLK_DIV6;
  PeriphClkInit.Adc34ClockSelection = RCC_ADC34PLLCLK_DIV6;
  PeriphClkInit.Tim1ClockSelection = RCC_TIM1CLK_HCLK;
  PeriphClkInit.Tim34ClockSelection = RCC_TIM34CLK_HCLK;
  if (HAL_RCCEx_PeriphCLKConfig(&PeriphClkInit) != HAL_OK)
  {
    Error_Handler();
  }
}

static void MX_ADC1_Init(void)
{

  ADC_MultiModeTypeDef multimode = {0};
  ADC_ChannelConfTypeDef sConfig = {0};

  /** Common config
  */
  hadc1.Instance = ADC1;
  hadc1.Init.ClockPrescaler = ADC_CLOCK_ASYNC_DIV1;
  hadc1.Init.Resolution = ADC_RESOLUTION_12B;
  hadc1.Init.ScanConvMode = ADC_SCAN_ENABLE;
  hadc1.Init.ContinuousConvMode = DISABLE;
  hadc1.Init.DiscontinuousConvMode = DISABLE;
  hadc1.Init.ExternalTrigConvEdge = ADC_EXTERNALTRIGCONVEDGE_NONE;
  hadc1.Init.ExternalTrigConv = ADC_SOFTWARE_START;
  hadc1.Init.DataAlign = ADC_DATAALIGN_RIGHT;
  hadc1.Init.NbrOfConversion = 4;
  hadc1.Init.DMAContinuousRequests = ENABLE;
  hadc1.Init.EOCSelection = ADC_EOC_SEQ_CONV;
  hadc1.Init.LowPowerAutoWait = DISABLE;
  hadc1.Init.Overrun = ADC_OVR_DATA_OVERWRITTEN;
  if (HAL_ADC_Init(&hadc1) != HAL_OK)
  {
    Error_Handler();
  }

  /** Configure the ADC multi-mode
  */
  multimode.Mode = ADC_DUALMODE_REGSIMULT;
  multimode.DMAAccessMode = ADC_DMAACCESSMODE_12_10_BITS;
  multimode.TwoSamplingDelay = ADC_TWOSAMPLINGDELAY_1CYCLE;
  if (HAL_ADCEx_MultiModeConfigChannel(&hadc1, &multimode) != HAL_OK)
  {
    Error_Handler();
  }

  /** Configure Regular Channel
  */
  sConfig.Channel = ADC_CHANNEL_1;
  sConfig.Rank = ADC_REGULAR_RANK_1;
  sConfig.SingleDiff = ADC_SINGLE_ENDED;
  sConfig.SamplingTime = ADC_SAMPLETIME_1CYCLE_5;
  sConfig.OffsetNumber = ADC_OFFSET_NONE;
  sConfig.Offset = 0;
  if (HAL_ADC_ConfigChannel(&hadc1, &sConfig) != HAL_OK)
  {
    Error_Handler();
  }

  /** Configure Regular Channel
  */
  sConfig.Channel = ADC_CHANNEL_2;
  sConfig.Rank = ADC_REGULAR_RANK_2;
  if (HAL_ADC_ConfigChannel(&hadc1, &sConfig) != HAL_OK)
  {
    Error_Handler();
  }

  /** Configure Regular Channel
  */
  sConfig.Channel = ADC_CHANNEL_6;
  sConfig.Rank = ADC_REGULAR_RANK_3;
  if (HAL_ADC_ConfigChannel(&hadc1, &sConfig) != HAL_OK)
  {
    Error_Handler();
  }

  /** Configure Regular Channel
  */
  sConfig.Channel = ADC_CHANNEL_7;
  sConfig.Rank = ADC_REGULAR_RANK_4;
  if (HAL_ADC_ConfigChannel(&hadc1, &sConfig) != HAL_OK)
  {
    Error_Handler();
  }

}

static void MX_ADC2_Init(void)
{

  ADC_ChannelConfTypeDef sConfig = {0};

  /** Common config
  */
  hadc2.Instance = ADC2;
  hadc2.Init.ClockPrescaler = ADC_CLOCK_ASYNC_DIV1;
  hadc2.Init.Resolution = ADC_RESOLUTION_12B;
  hadc2.Init.ScanConvMode = ADC_SCAN_ENABLE;
  hadc2.Init.ContinuousConvMode = DISABLE;
  hadc2.Init.DiscontinuousConvMode = DISABLE;
  hadc2.Init.DataAlign = ADC_DATAALIGN_RIGHT;
  hadc2.Init.NbrOfConversion = 4;
  hadc2.Init.DMAContinuousRequests = DISABLE;
  hadc2.Init.EOCSelection = ADC_EOC_SEQ_CONV;
  hadc2.Init.LowPowerAutoWait = DISABLE;
  hadc2.Init.Overrun = ADC_OVR_DATA_OVERWRITTEN;
  if (HAL_ADC_Init(&hadc2) != HAL_OK)
  {
    Error_Handler();
  }

  /** Configure Regular Channel
  */
  sConfig.Channel = ADC_CHANNEL_1;
  sConfig.Rank = ADC_REGULAR_RANK_1;
  sConfig.SingleDiff = ADC_SINGLE_ENDED;
  sConfig.SamplingTime = ADC_SAMPLETIME_1CYCLE_5;
  sConfig.OffsetNumber = ADC_OFFSET_NONE;
  sConfig.Offset = 0;
  if (HAL_ADC_ConfigChannel(&hadc2, &sConfig) != HAL_OK)
  {
    Error_Handler();
  }

  /** Configure Regular Channel
  */
  sConfig.Channel = ADC_CHANNEL_8;
  sConfig.Rank = ADC_REGULAR_RANK_2;
  if (HAL_ADC_ConfigChannel(&hadc2, &sConfig) != HAL_OK)
  {
    Error_Handler();
  }

  /** Configure Regular Channel
  */
  sConfig.Channel = ADC_CHANNEL_9;
  sConfig.Rank = ADC_REGULAR_RANK_3;
  if (HAL_ADC_ConfigChannel(&hadc2, &sConfig) != HAL_OK)
  {
    Error_Handler();
  }

  /** Configure Regular Channel
  */
  sConfig.Channel = ADC_CHANNEL_VREFINT;
  sConfig.Rank = ADC_REGULAR_RANK_4;
  if (HAL_ADC_ConfigChannel(&hadc2, &sConfig) != HAL_OK)
  {
    Error_Handler();
  }

}

static void MX_ADC3_Init(void)
{

  ADC_MultiModeTypeDef multimode = {0};
  ADC_ChannelConfTypeDef sConfig = {0};

  /** Common config
  */
  hadc3.Instance = ADC3;
  hadc3.Init.ClockPrescaler = ADC_CLOCK_ASYNC_DIV1;
  hadc3.Init.Resolution = ADC_RESOLUTION_12B;
  hadc3.Init.ScanConvMode = ADC_SCAN_DISABLE;
  hadc3.Init.ContinuousConvMode = DISABLE;
  hadc3.Init.DiscontinuousConvMode = DISABLE;
  hadc3.Init.ExternalTrigConvEdge = ADC_EXTERNALTRIGCONVEDGE_NONE;
  hadc3.Init.ExternalTrigConv = ADC_SOFTWARE_START;
  hadc3.Init.DataAlign = ADC_DATAALIGN_RIGHT;
  hadc3.Init.NbrOfConversion = 1;
  hadc3.Init.DMAContinuousRequests = DISABLE;
  hadc3.Init.EOCSelection = ADC_EOC_SINGLE_CONV;
  hadc3.Init.LowPowerAutoWait = DISABLE;
  hadc3.Init.Overrun = ADC_OVR_DATA_OVERWRITTEN;
  if (HAL_ADC_Init(&hadc3) != HAL_OK)
  {
    Error_Handler();
  }

  /** Configure the ADC multi-mode
  */
  multimode.Mode = ADC_MODE_INDEPENDENT;
  if (HAL_ADCEx_MultiModeConfigChannel(&hadc3, &multimode) != HAL_OK)
  {
    Error_Handler();
  }

  /** Configure Regular Channel
  */
  sConfig.Channel = ADC_CHANNEL_12;
  sConfig.Rank = ADC_REGULAR_RANK_1;
  sConfig.SingleDiff = ADC_SINGLE_ENDED;
  sConfig.SamplingTime = ADC_SAMPLETIME_1CYCLE_5;
  sConfig.OffsetNumber = ADC_OFFSET_NONE;
  sConfig.Offset = 0;
  if (HAL_ADC_ConfigChannel(&hadc3, &sConfig) != HAL_OK)
  {
    Error_Handler();
  }

}

static void MX_TIM1_Init(void)
{

  TIM_ClockConfigTypeDef sClockSourceConfig = {0};
  TIM_MasterConfigTypeDef sMasterConfig = {0};

  htim1.Instance = TIM1;
  htim1.Init.Prescaler = 0;
  htim1.Init.CounterMode = TIM_COUNTERMODE_UP;
  htim1.Init.Period = 18000;
  htim1.Init.ClockDivision = TIM_CLOCKDIVISION_DIV1;
  htim1.Init.RepetitionCounter = 0;
  htim1.Init.AutoReloadPreload = TIM_AUTORELOAD_PRELOAD_DISABLE;
  if (HAL_TIM_Base_Init(&htim1) != HAL_OK)
  {
    Error_Handler();
  }
  sClockSourceConfig.ClockSource = TIM_CLOCKSOURCE_INTERNAL;
  if (HAL_TIM_ConfigClockSource(&htim1, &sClockSourceConfig) != HAL_OK)
  {
    Error_Handler();
  }
  sMasterConfig.MasterOutputTrigger = TIM_TRGO_RESET;
  sMasterConfig.MasterOutputTrigger2 = TIM_TRGO2_RESET;
  sMasterConfig.MasterSlaveMode = TIM_MASTERSLAVEMODE_DISABLE;
  if (HAL_TIMEx_MasterConfigSynchronization(&htim1, &sMasterConfig) != HAL_OK)
  {
    Error_Handler();
  }

}

static void MX_TIM3_Init(void)
{

  TIM_MasterConfigTypeDef sMasterConfig = {0};
  TIM_OC_InitTypeDef sConfigOC = {0};

  htim3.Instance = TIM3;
  htim3.Init.Prescaler = 99;
  htim3.Init.CounterMode = TIM_COUNTERMODE_UP;
  htim3.Init.Period = 9000;
  htim3.Init.ClockDivision = TIM_CLOCKDIVISION_DIV1;
  htim3.Init.AutoReloadPreload = TIM_AUTORELOAD_PRELOAD_DISABLE;
  if (HAL_TIM_PWM_Init(&htim3) != HAL_OK)
  {
    Error_Handler();
  }
  sMasterConfig.MasterOutputTrigger = TIM_TRGO_RESET;
  sMasterConfig.MasterSlaveMode = TIM_MASTERSLAVEMODE_DISABLE;
  if (HAL_TIMEx_MasterConfigSynchronization(&htim3, &sMasterConfig) != HAL_OK)
  {
    Error_Handler();
  }
  sConfigOC.OCMode = TIM_OCMODE_PWM1;
  sConfigOC.Pulse = 0;
  sConfigOC.OCPolarity = TIM_OCPOLARITY_HIGH;
  sConfigOC.OCFastMode = TIM_OCFAST_DISABLE;
  if (HAL_TIM_PWM_ConfigChannel(&htim3, &sConfigOC, TIM_CHANNEL_1) != HAL_OK)
  {
    Error_Handler();
  }
  if (HAL_TIM_PWM_ConfigChannel(&htim3, &sConfigOC, TIM_CHANNEL_2) != HAL_OK)
  {
    Error_Handler();
  }
  if (HAL_TIM_PWM_ConfigChannel(&htim3, &sConfigOC, TIM_CHANNEL_3) != HAL_OK)
  {
    Error_Handler();
  }
  if (HAL_TIM_PWM_ConfigChannel(&htim3, &sConfigOC, TIM_CHANNEL_4) != HAL_OK)
  {
    Error_Handler();
  }
  HAL_TIM_MspPostInit(&htim3);

}

static void MX_USART2_UART_Init(void)
{

  huart2.Instance = USART2;
  huart2.Init.BaudRate = 115200;
  huart2.Init.WordLength = UART_WORDLENGTH_8B;
  huart2.Init.StopBits = UART_STOPBITS_1;
  huart2.Init.Parity = UART_PARITY_NONE;
  huart2.Init.Mode = UART_MODE_TX_RX;
  huart2.Init.HwFlowCtl = UART_HWCONTROL_NONE;
  huart2.Init.OverSampling = UART_OVERSAMPLING_16;
  huart2.Init.OneBitSampling = UART_ONE_BIT_SAMPLE_DISABLE;
  huart2.AdvancedInit.AdvFeatureInit = UART_ADVFEATURE_NO_INIT;
  if (HAL_UART_Init(&huart2) != HAL_OK)
  {
    Error_Handler();
  }

}

static void MX_USART3_UART_Init(void)
{

  huart3.Instance = USART3;
  huart3.Init.BaudRate = 115200;
  huart3.Init.WordLength = UART_WORDLENGTH_8B;
  huart3.Init.StopBits = UART_STOPBITS_1;
  huart3.Init.Parity = UART_PARITY_NONE;
  huart3.Init.Mode = UART_MODE_TX_RX;
  huart3.Init.HwFlowCtl = UART_HWCONTROL_NONE;
  huart3.Init.OverSampling = UART_OVERSAMPLING_16;
  huart3.Init.OneBitSampling = UART_ONE_BIT_SAMPLE_DISABLE;
  huart3.AdvancedInit.AdvFeatureInit = UART_ADVFEATURE_NO_INIT;
  if (HAL_UART_Init(&huart3) != HAL_OK)
  {
    Error_Handler();
  }

}

static void MX_DMA_Init(void)
{

  /* DMA controller clock enable */
  __HAL_RCC_DMA1_CLK_ENABLE();

  /* DMA interrupt init */
  /* DMA1_Channel1_IRQn interrupt configuration */
  HAL_NVIC_SetPriority(DMA1_Channel1_IRQn, 0, 0);
  HAL_NVIC_EnableIRQ(DMA1_Channel1_IRQn);

}

static void MX_GPIO_Init(void)
{
  GPIO_InitTypeDef GPIO_InitStruct = {0};

  /* GPIO Ports Clock Enable */
  __HAL_RCC_GPIOC_CLK_ENABLE();
  __HAL_RCC_GPIOF_CLK_ENABLE();
  __HAL_RCC_GPIOA_CLK_ENABLE();
  __HAL_RCC_GPIOB_CLK_ENABLE();

  /*Configure GPIO pin Output Level */
  HAL_GPIO_WritePin(LD1_GPIO_Port, LD1_Pin, GPIO_PIN_RESET);

  /*Configure GPIO pin Output Level */
  HAL_GPIO_WritePin(CH_ENA_GPIO_Port, CH_ENA_Pin, GPIO_PIN_RESET);

  /*Configure GPIO pin : B1_Pin */
  GPIO_InitStruct.Pin = B1_Pin;
  GPIO_InitStruct.Mode = GPIO_MODE_INPUT;
  GPIO_InitStruct.Pull = GPIO_NOPULL;
  HAL_GPIO_Init(B1_GPIO_Port, &GPIO_InitStruct);

  /*Configure GPIO pin : LD1_Pin */
  GPIO_InitStruct.Pin = LD1_Pin;
  GPIO_InitStruct.Mode = GPIO_MODE_OUTPUT_PP;
  GPIO_InitStruct.Pull = GPIO_NOPULL;
  GPIO_InitStruct.Speed = GPIO_SPEED_FREQ_LOW;
  HAL_GPIO_Init(LD1_GPIO_Port, &GPIO_InitStruct);

  /*Configure GPIO pin : CH_ENA_Pin */
  GPIO_InitStruct.Pin = CH_ENA_Pin;
  GPIO_InitStruct.Mode = GPIO_MODE_OUTPUT_PP;
  GPIO_InitStruct.Pull = GPIO_NOPULL;
  GPIO_InitStruct.Speed = GPIO_SPEED_FREQ_LOW;
  HAL_GPIO_Init(CH_ENA_GPIO_Port, &GPIO_InitStruct);

  /*Configure GPIO pins : PB8 PB9 */
  GPIO_InitStruct.Pin = GPIO_PIN_8|GPIO_PIN_9;
  GPIO_InitStruct.Mode = GPIO_MODE_AF_OD;
  GPIO_InitStruct.Pull = GPIO_NOPULL;
  GPIO_InitStruct.Speed = GPIO_SPEED_FREQ_HIGH;
  GPIO_InitStruct.Alternate = GPIO_AF4_I2C1;
  HAL_GPIO_Init(GPIOB, &GPIO_InitStruct);

}

void Error_Handler(void)
{
  __disable_irq();
  while (1)
  {
  }
}
